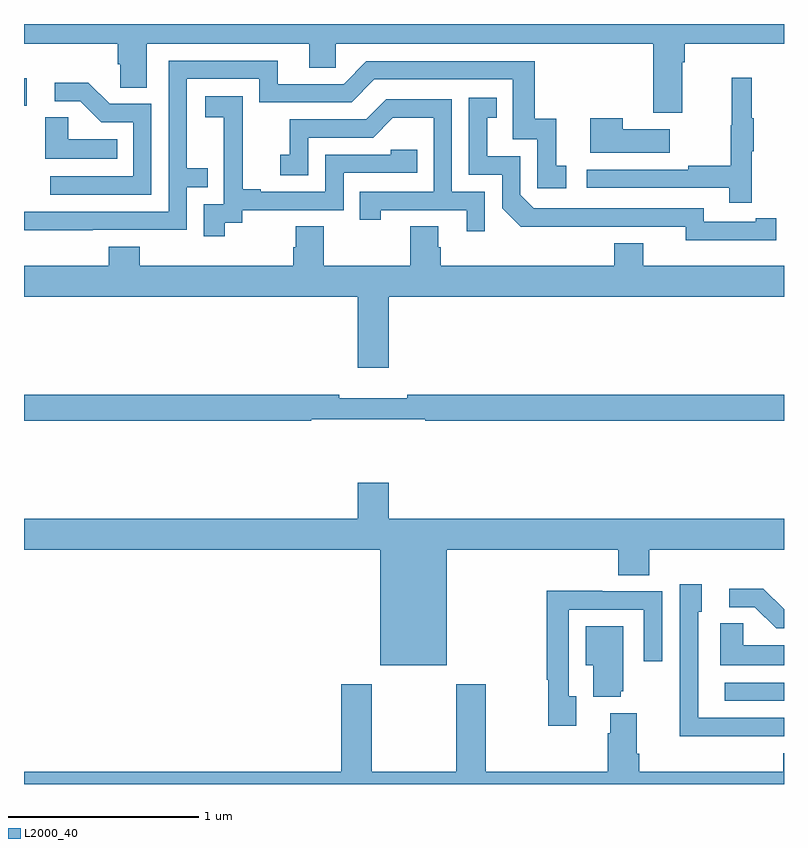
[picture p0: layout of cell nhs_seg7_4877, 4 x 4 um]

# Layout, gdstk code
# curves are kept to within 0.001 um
import gdstk
lib = gdstk.Library(unit=1e-6, precision=1e-09)
def R(c, l, rs):  # rectangles x0, y0, x1, y1
    for r in rs: c.add(gdstk.rectangle(r[:2], r[2:], *l))
def P(c, l, *ps):  # polygons
    for p in ps: c.add(gdstk.Polygon(p, *l))
L2000_40 = (2000, 40)

nhs_seg7_4877 = lib.new_cell('nhs_seg7_4877')
R(nhs_seg7_4877, L2000_40, [(418.689,1050.438,419,1050.534), (415,1053.57,415.015,1053.715)])
P(nhs_seg7_4877, L2000_40, [(418.465,1053.8),(418.478,1053.8),(418.478,1053.896),(419,1053.896),(419,1054),(415,1054),(415,1053.896),(415.493,1053.896),(415.493,1053.787),(415.506,1053.787),(415.506,1053.664),(415.645,1053.664),(415.645,1053.896),(416.501,1053.896),(416.501,1053.769),(416.64,1053.769),(416.64,1053.896),(418.313,1053.896),(418.313,1053.534),(418.465,1053.534)],
  [(415.361,1052.916),(415.857,1052.916),(415.857,1053.141),(415.967,1053.141),(415.967,1053.242),(415.857,1053.242),(415.857,1053.711),(416.238,1053.711),(416.238,1053.588),(416.724,1053.588),(416.844,1053.708),(417.573,1053.708),(417.573,1053.393),(417.702,1053.393),(417.702,1053.135),(417.853,1053.135),(417.853,1053.255),(417.8,1053.255),(417.8,1053.502),(417.689,1053.502),(417.689,1053.804),(416.802,1053.804),(416.682,1053.684),(416.335,1053.684),(416.335,1053.807),(415.761,1053.807),(415.761,1053.012),(415,1053.012),(415,1052.915)],
  [(418.829,1053.331),(418.84,1053.331),(418.84,1053.505),(418.829,1053.505),(418.829,1053.718),(418.726,1053.718),(418.726,1053.468),(418.719,1053.468),(418.719,1053.254),(418.495,1053.254),(418.495,1053.234),(417.963,1053.234),(417.963,1053.138),(418.711,1053.138),(418.711,1053.06),(418.829,1053.06)],
  [(415.671,1053.579),(415.452,1053.579),(415.339,1053.692),(415.161,1053.692),(415.161,1053.594),(415.295,1053.594),(415.406,1053.483),(415.575,1053.483),(415.575,1053.198),(415.137,1053.198),(415.137,1053.102),(415.671,1053.102)],
  [(416.056,1052.953),(416.148,1052.953),(416.148,1053.021),(416.682,1053.021),(416.682,1053.216),(417.071,1053.216),(417.071,1053.339),(416.931,1053.339),(416.931,1053.312),(416.586,1053.312),(416.586,1053.117),(416.245,1053.117),(416.245,1053.13),(416.15,1053.13),(416.15,1053.413),(416.151,1053.413),(416.151,1053.619),(415.953,1053.619),(415.953,1053.509),(416.051,1053.509),(416.051,1053.281),(416.052,1053.281),(416.052,1053.051),(415.947,1053.051),(415.947,1052.883),(416.056,1052.883)],
  [(418.85,1052.862),(418.958,1052.862),(418.958,1052.978),(418.85,1052.978),(418.85,1052.958),(418.578,1052.958),(418.578,1053.03),(417.684,1053.03),(417.612,1053.102),(417.612,1053.303),(417.439,1053.303),(417.439,1053.507),(417.488,1053.507),(417.488,1053.613),(417.342,1053.613),(417.342,1053.207),(417.516,1053.207),(417.516,1053.03),(417.614,1052.933),(418.482,1052.934),(418.482,1052.861)],
  [(417.426,1053.117),(417.252,1053.117),(417.252,1053.603),(416.906,1053.603),(416.801,1053.498),(416.398,1053.498),(416.398,1053.313),(416.349,1053.313),(416.349,1053.204),(416.496,1053.204),(416.496,1053.402),(416.838,1053.402),(416.942,1053.506),(417.156,1053.506),(417.156,1053.117),(416.767,1053.117),(416.767,1052.97),(416.878,1052.97),(416.878,1053.021),(417.329,1053.021),(417.329,1052.91),(417.426,1052.91)],
  [(415.49,1053.394),(415.233,1053.394),(415.233,1053.509),(415.112,1053.509),(415.112,1053.29),(415.49,1053.29)],
  [(418.399,1053.445),(418.151,1053.445),(418.151,1053.505),(417.98,1053.505),(417.98,1053.323),(418.399,1053.323)],
  [(416.92,1052.564),(419,1052.564),(419,1052.728),(418.258,1052.728),(418.258,1052.845),(418.106,1052.845),(418.106,1052.728),(417.194,1052.728),(417.194,1052.826),(417.181,1052.826),(417.181,1052.936),(417.034,1052.936),(417.034,1052.728),(416.577,1052.728),(416.577,1052.936),(416.429,1052.936),(416.429,1052.826),(416.417,1052.826),(416.417,1052.728),(415.61,1052.728),(415.61,1052.827),(415.445,1052.827),(415.445,1052.728),(415,1052.728),(415,1052.564),(416.756,1052.564),(416.756,1052.19),(416.92,1052.19)],
  [(416.512,1051.92),(417.112,1051.92),(417.112,1051.912),(419,1051.912),(419,1052.048),(417.016,1052.048),(417.016,1052.029),(416.66,1052.029),(416.66,1052.048),(415,1052.048),(415,1051.912),(416.512,1051.912)],
  [(417.226,1051.232),(418.127,1051.232),(418.127,1051.099),(418.292,1051.099),(418.292,1051.232),(419,1051.232),(419,1051.396),(416.92,1051.396),(416.92,1051.585),(416.756,1051.585),(416.756,1051.396),(415,1051.396),(415,1051.232),(416.876,1051.232),(416.876,1050.626),(417.226,1050.626)],
  [(418.913,1050.252),(419,1050.252),(419,1050.348),(418.548,1050.348),(418.548,1050.906),(418.567,1050.906),(418.567,1051.051),(418.452,1051.051),(418.452,1050.557),(418.45,1050.557),(418.45,1050.251),(418.913,1050.251)],
  [(419,1050.919),(418.891,1051.028),(418.713,1051.028),(418.713,1050.93),(418.847,1050.93),(418.958,1050.819),(419,1050.819)],
  [(417.907,1050.462),(417.867,1050.462),(417.867,1050.918),(418.263,1050.918),(418.263,1050.645),(418.359,1050.645),(418.359,1051.014),(418.043,1051.014),(418.043,1051.016),(417.751,1051.016),(417.751,1050.55),(417.759,1050.55),(417.759,1050.306),(417.907,1050.306)],
  [(419,1050.73),(418.785,1050.73),(418.785,1050.845),(418.664,1050.845),(418.664,1050.626),(419,1050.626)],
  [(418.142,1050.489),(418.153,1050.489),(418.153,1050.829),(417.956,1050.829),(417.956,1050.626),(417.995,1050.626),(417.995,1050.458),(418.142,1050.458)],
  [(419,1050.163),(418.997,1050.163),(418.997,1050.064),(418.238,1050.064),(418.238,1050.16),(418.225,1050.16),(418.225,1050.373),(418.085,1050.373),(418.085,1050.266),(418.073,1050.266),(418.073,1050.064),(417.429,1050.064),(417.429,1050.526),(417.274,1050.526),(417.274,1050.064),(416.829,1050.064),(416.829,1050.526),(416.669,1050.526),(416.669,1050.064),(415,1050.064),(415,1050),(419,1050)])

lib.write_gds('nhs_seg7_4877.gds')
